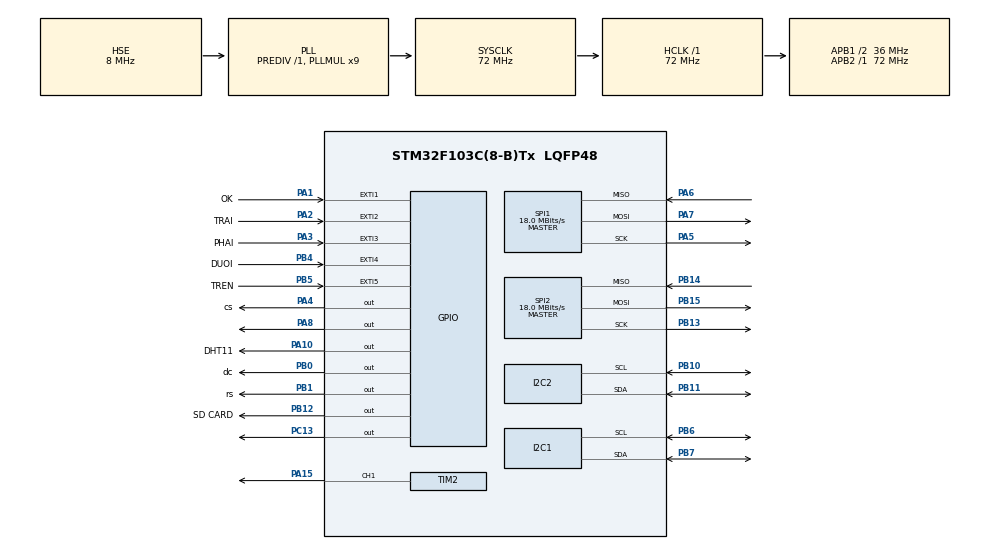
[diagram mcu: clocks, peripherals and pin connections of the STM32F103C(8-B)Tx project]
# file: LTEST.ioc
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Mcu.Family=STM32F1
Mcu.Name=STM32F103C(8-B)Tx
Mcu.Package=LQFP48
NVIC.EXTI1_IRQn=true\:1\:0\:true\:false\:true\:true\:true\:true
NVIC.EXTI2_IRQn=true\:1\:0\:true\:false\:true\:true\:true\:true
NVIC.EXTI3_IRQn=true\:1\:0\:true\:false\:true\:true\:true\:true
NVIC.EXTI4_IRQn=true\:1\:0\:true\:false\:true\:true\:true\:true
NVIC.EXTI9_5_IRQn=true\:1\:0\:true\:false\:true\:true\:true\:true
NVIC.I2C1_EV_IRQn=true\:2\:0\:true\:false\:true\:true\:true\:true
NVIC.I2C2_EV_IRQn=true\:2\:0\:true\:false\:true\:true\:true\:true
NVIC.PriorityGroup=NVIC_PRIORITYGROUP_4
NVIC.SPI2_IRQn=true\:2\:0\:true\:false\:true\:true\:true\:true
NVIC.TIM3_IRQn=true\:2\:0\:true\:false\:true\:true\:true\:true
PA1.GPIO_Label=OK
PA1.GPIO_ModeDefaultEXTI=GPIO_MODE_IT_FALLING
PA1.GPIO_PuPd=GPIO_PULLUP
PA1.Signal=GPXTI1
PA10.GPIO_Label=DHT11
PA10.Signal=GPIO_Output
PA13.Mode=Serial_Wire
PA13.Signal=SYS_JTMS-SWDIO
PA14.Mode=Serial_Wire
PA14.Signal=SYS_JTCK-SWCLK
PA15.Signal=S_TIM2_CH1_ETR
PA2.GPIO_Label=TRAI
PA2.GPIO_ModeDefaultEXTI=GPIO_MODE_IT_FALLING
PA2.GPIO_PuPd=GPIO_PULLUP
PA2.Signal=GPXTI2
PA3.GPIO_Label=PHAI
PA3.GPIO_ModeDefaultEXTI=GPIO_MODE_IT_FALLING
PA3.GPIO_PuPd=GPIO_PULLUP
PA3.Signal=GPXTI3
PA4.GPIO_Label=cs
PA4.GPIO_Speed=GPIO_SPEED_FREQ_HIGH
PA4.Signal=GPIO_Output
PA5.Mode=Full_Duplex_Master
PA5.Signal=SPI1_SCK
PA6.Mode=Full_Duplex_Master
PA6.Signal=SPI1_MISO
PA7.Mode=Full_Duplex_Master
PA7.Signal=SPI1_MOSI
PA8.Signal=GPIO_Output
PB0.GPIO_Label=dc
PB0.GPIO_Speed=GPIO_SPEED_FREQ_HIGH
PB0.Signal=GPIO_Output
PB1.GPIO_Label=rs
PB1.GPIO_Speed=GPIO_SPEED_FREQ_HIGH
PB1.Signal=GPIO_Output
PB10.Mode=I2C
PB10.Signal=I2C2_SCL
PB11.Mode=I2C
PB11.Signal=I2C2_SDA
PB12.GPIO_Label=SD CARD
PB12.Signal=GPIO_Output
PB13.Mode=Full_Duplex_Master
PB13.Signal=SPI2_SCK
PB14.Mode=Full_Duplex_Master
PB14.Signal=SPI2_MISO
PB15.Mode=Full_Duplex_Master
PB15.Signal=SPI2_MOSI
PB4.GPIO_Label=DUOI
PB4.GPIO_ModeDefaultEXTI=GPIO_MODE_IT_FALLING
PB4.GPIO_PuPd=GPIO_PULLUP
PB4.Signal=GPXTI4
PB5.GPIO_Label=TREN
PB5.GPIO_ModeDefaultEXTI=GPIO_MODE_IT_FALLING
PB5.GPIO_PuPd=GPIO_PULLUP
PB5.Signal=GPXTI5
PB6.Mode=I2C
PB6.Signal=I2C1_SCL
PB7.Mode=I2C
PB7.Signal=I2C1_SDA
PC13-TAMPER-RTC.Signal=GPIO_Output
PD0-OSC_IN.Mode=HSE-External-Oscillator
PD0-OSC_IN.Signal=RCC_OSC_IN
PD1-OSC_OUT.Mode=HSE-External-Oscillator
PD1-OSC_OUT.Signal=RCC_OSC_OUT
ProjectManager.HeapSize=0x200
ProjectManager.StackSize=0x400
ProjectManager.TargetToolchain=STM32CubeIDE
RCC.ADCPresc=RCC_ADCPCLK2_DIV6
RCC.AHBFreq_Value=72000000
RCC.APB1CLKDivider=RCC_HCLK_DIV2
RCC.APB1Freq_Value=36000000
RCC.APB1TimFreq_Value=72000000
RCC.APB2Freq_Value=72000000
RCC.APB2TimFreq_Value=72000000
RCC.HCLKFreq_Value=72000000
RCC.PLLMUL=RCC_PLL_MUL9
RCC.PLLSourceVirtual=RCC_PLLSOURCE_HSE
RCC.SYSCLKFreq_VALUE=72000000
RCC.SYSCLKSource=RCC_SYSCLKSOURCE_PLLCLK
RCC.USBFreq_Value=72000000
SH.S_TIM2_CH1_ETR.0=TIM2_CH1,PWM Generation1 CH1
SPI1.BaudRatePrescaler=SPI_BAUDRATEPRESCALER_4
SPI1.CalculateBaudRate=18.0 MBits/s
SPI1.Direction=SPI_DIRECTION_2LINES
SPI1.Mode=SPI_MODE_MASTER
SPI1.VirtualType=VM_MASTER
SPI2.BaudRatePrescaler=SPI_BAUDRATEPRESCALER_2
SPI2.CalculateBaudRate=18.0 MBits/s
SPI2.Direction=SPI_DIRECTION_2LINES
SPI2.Mode=SPI_MODE_MASTER
SPI2.VirtualType=VM_MASTER
TIM2.Channel-PWM\ Generation1\ CH1=TIM_CHANNEL_1
TIM2.Period=255
TIM2.Prescaler=1
TIM3.Period=125
TIM3.Prescaler=36
TIM4.Period=0xffff
TIM4.Prescaler=71
VP_FATFS_VS_Generic.Mode=User_defined
VP_TIM2_VS_ClockSourceINT.Mode=Internal
VP_TIM3_VS_ClockSourceINT.Mode=Internal
VP_TIM4_VS_ClockSourceINT.Mode=Internal
board=custom

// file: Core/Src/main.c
/* USER CODE BEGIN Header */
/**
  ******************************************************************************
  * @file           : main.c
  * @brief          : Main program body
  ******************************************************************************
  * @attention
  *
  * Copyright (c) 2023 STMicroelectronics.
  * All rights reserved.
  *
  * This software is licensed under terms that can be found in the LICENSE file
  * in the root directory of this software component.
  * If no LICENSE file comes with this software, it is provided AS-IS.
  *
  ******************************************************************************
  */
/* USER CODE END Header */
#include "main.h"
#include "fatfs.h"

/* USER CODE BEGIN Includes */
#include <stdio.h>
#include <string.h>
#include <clock_TT-h/fatfs_sd.h>
#include <clock_TT-h/R-W-SD.h>
#include <clock_TT-h/ssd1306.h>
#include <clock_TT-h/ssd1306_tests.h>
#include <clock_TT-h/RTCds3231.h>
#include <clock_TT-h/DHT11.h>
#include <clock_TT-h/manhinh.h>
#include "FLASH.h"
/* USER CODE END Includes */

I2C_HandleTypeDef hi2c1;
I2C_HandleTypeDef hi2c2;

SPI_HandleTypeDef hspi1;
SPI_HandleTypeDef hspi2;

TIM_HandleTypeDef htim2;
TIM_HandleTypeDef htim3;
TIM_HandleTypeDef htim4;

/* USER CODE BEGIN PV */

//bien man hinh chinh--------
const unsigned char battery []= {
	0x00, 0x00, 0x00,
	0x00, 0x00, 0x00,
	0x7f, 0xff, 0xf8,
	0xe0, 0x00, 0x1c,
	0xc0, 0x00, 0x0c,
	0xdf, 0xff, 0xee,
	0xdf, 0xff, 0xef,
	0xdf, 0xff, 0xe3,
	0xdf, 0xff, 0xe3,
	0xdf, 0xff, 0xe3,
	0xdf, 0xff,	0xe3,
	0xdf, 0xff, 0xef,
	0xdf, 0xff, 0xee,
	0xc0, 0x00, 0x0c,
	0xe0, 0x00, 0x1c,
	0x7f, 0xff, 0xf8,
	0x00, 0x00, 0x00,
	0x00, 0x00, 0x00};
DS3231_typedef DS3231_TimeNow;
DS3231_typedef DS3231_TimeSet;
uint8_t u8_revBuffer[7];
char giophut[5],giay[4],ngay[20];
char giophutgiay[30]="00:00:00                  ";
char ngays[30]="thu0,00-00-2000        ";
char giophut_a[30]="00:00             ";
uint8_t timeset[7];
uint8_t timeset2[7];
uint8_t timealrm[2];
uint32_t min;
uint8_t date;
uint8_t id;
uint8_t set=0;
uint8_t tat=0;
//bien mang hinh chinh---------
volatile uint8_t mode=0;
uint8_t controdoc=0;
uint8_t dung=0;
uint8_t controngang=0;
volatile uint8_t 	ok=0;
volatile uint8_t	trai=0;
volatile uint8_t	phai=0;
volatile uint8_t	tren=0;
volatile uint8_t    duoi=0;
char ghi[5];
//bien phat nhac-------
char buffer[1024+1];
uint32_t cnt=1;
uint32_t ngat=0;
char phat[20]="1.txt";
uint8_t amthanh[1024/2];
char nhac[80];
//bien phat nhac-------
/* USER CODE END PV */

void SystemClock_Config(void);
static void MX_GPIO_Init(void);
static void MX_SPI1_Init(void);
static void MX_I2C1_Init(void);
static void MX_SPI2_Init(void);
static void MX_TIM2_Init(void);
static void MX_TIM3_Init(void);
static void MX_I2C2_Init(void);
static void MX_TIM4_Init(void);
/* USER CODE BEGIN PFP */

void HAL_GPIO_EXTI_Callback(uint16_t GPIO_Pin)
  {
    /* Prevent unused argument(s) compilation warning */
    UNUSED(GPIO_Pin);
    /* NOTE: This function Should not be modified, when the callback is needed,
             the HAL_GPIO_EXTI_Callback could be implemented in the user file
     */
    min=HAL_GetTick();
    if (GPIO_Pin== GPIO_PIN_1)
  	      {
    	if (mode==4 && controdoc==1) mode=0;
    	if (mode!=0 && controdoc!=0) ok=1;
    	else mode=0;
  	      }
  	else if(GPIO_Pin == GPIO_PIN_2)
  	      {
  		if (mode==1 && controdoc!=0) trai=1;
  		else if (mode==4 && controdoc!=0) trai=1;
  		else mode=1;
  	      }
  	else if(GPIO_Pin == GPIO_PIN_3)
  	      {
  		if (mode==1 && controdoc!=0) phai=1;
  		else if (mode==4 && controdoc!=0) phai=1;
  		else mode=2;
  	      }
  	else if(GPIO_Pin == GPIO_PIN_5){
  		tren=1;
  		dung=1;
  	}
  	else if(GPIO_Pin == GPIO_PIN_4){
  		duoi=1;
  		dung=1;
  	  	}
//    while(HAL_GetTick()-min<20);

  }
void HAL_TIM_PeriodElapsedCallback(TIM_HandleTypeDef *htim) //16Khz timer
  	{

  	   TIM2->CCR1=amthanh[cnt++];
  	   if(cnt>=512) {
  		 cnt=0;
  		HAL_TIM_Base_Stop_IT(&htim3);
  		ngat=1;
  	   }
  	}
void HAL_I2C_MemRxCpltCallback(I2C_HandleTypeDef *hi2c)
{

		  UNUSED(hi2c);
		if (hi2c->Instance == I2C1)
		{
			DS3231_TimeNow.sec=BCD2DEC(u8_revBuffer[0]);
			DS3231_TimeNow.min=BCD2DEC(u8_revBuffer[1]);
			DS3231_TimeNow.hours=BCD2DEC(u8_revBuffer[2]);
			DS3231_TimeNow.date=BCD2DEC(u8_revBuffer[3]);
			DS3231_TimeNow.day=BCD2DEC(u8_revBuffer[4]);
			DS3231_TimeNow.month=BCD2DEC(u8_revBuffer[5]);
			DS3231_TimeNow.year=BCD2DEC(u8_revBuffer[6]);
		}

}
uint8_t doc(uint8_t *tren,uint8_t *duoi)
{
	static uint8_t i=0;
	if (*tren==1) {
		i--;
		*tren=0;
	}
	if (*duoi==1) {
		i++;
		*duoi=0;
	}
	if(set==1) i=i;
	else{
		if (i<0 || i>4) i=0;
	}
	return i;
}
uint8_t ngang(uint8_t *trai,uint8_t *phai)
{
	static uint8_t i=0;
	if (*trai==1) {
		i--;
		*trai=0;
	}
	if (*phai==1) {
		i++;
		*phai=0;
	}
	if(i<0 || i>17) i=0;
	return i;
}
/* USER CODE END PFP */

int main(void)
{

  /* MCU Configuration--------------------------------------------------------*/

  /* Reset of all peripherals, Initializes the Flash interface and the Systick. */
  HAL_Init();

  /* Configure the system clock */
  SystemClock_Config();

  /* Initialize all configured peripherals */
  MX_GPIO_Init();
  MX_SPI1_Init();
  MX_I2C1_Init();
  MX_SPI2_Init();
  MX_FATFS_Init();
  MX_TIM2_Init();
  MX_TIM3_Init();
  MX_I2C2_Init();
  MX_TIM4_Init();
  /* USER CODE BEGIN 2 */
  HAL_TIM_PWM_Start(&htim2,TIM_CHANNEL_1); //cho phep PWM (gia lap DAC)
  ssd1306_Init();
////  man hinh chinh begin
  //doc
giay[0]=':';
giophut[2]=':';
ngay[0]='T';ngay[1]='h';ngay[2]='u';ngay[4]=',';
ngay[7]='-';
ngay[10]='-';
ngay[11]='2';ngay[12]='0';

id=stactusTX();
   // manh hinh chinh end
   //phat nhac begin
  //phat nhac end
  /* USER CODE END 2 */

  /* Infinite loop */
  while (1)
  {

    /* USER CODE BEGIN 3 */
	switch (mode){
	 case 0:
	 	 {
		 while(mode==0){//man hinh chinh
			 dung=0;
			 readsdtxt("","tb.txt",ghi,5);
			 str2uint8t(ghi,timealrm,2);
			 readtime(u8_revBuffer,id);
			 if (timealrm[1]==(DS3231_TimeNow.hours) && timealrm[0]==(DS3231_TimeNow.min))
			 	 {

				 	if (tat==0)readline("","3.txt",buffer,amthanh,1024/2,&ngat,&dung);
				 	tat=1;
			 	 }

			 ngay[3]=(DS3231_TimeNow.date) + 48;
			 ngay[5]=((DS3231_TimeNow.day)/10) + 48;
			 ngay[6]=((DS3231_TimeNow.day)%10) + 48;
			 ngay[8]=((DS3231_TimeNow.month)/10) + 48;
			 ngay[9]=((DS3231_TimeNow.month)%10) + 48;
			 ngay[13]=((DS3231_TimeNow.year)/10) + 48;
			 ngay[14]=((DS3231_TimeNow.year)%10)  + 48;
			 giay[1]=((DS3231_TimeNow.sec)/10) + 48;
			 giay[2]=((DS3231_TimeNow.sec)%10) + 48;
			 giophut[0]=((DS3231_TimeNow.hours)/10) +48;
			 giophut[1]=((DS3231_TimeNow.hours)%10) +48;
			 giophut[3]=((DS3231_TimeNow.min)/10) +48;
			 giophut[4]=((DS3231_TimeNow.min)%10) +48;
			 ssd1306_SetCursor(10,0);
			 ssd1306_WriteString("Clock TT",Font_11x18,White);
			 ssd1306_DrawBitmap(101,0,battery,24,18,White);
			 ssd1306_UpdateScreen();
			 ssd1306_SetCursor(0,18);
			 ssd1306_WriteString(ngay,Font_7x10,White);
			 ssd1306_UpdateScreen();
			 ssd1306_SetCursor(37,28);
			 ssd1306_WriteString(giophut,Font_11x18,White);
			 ssd1306_SetCursor(90,35);
			 ssd1306_WriteString(giay,Font_7x10,White);
			 ssd1306_UpdateScreen();
	 	 	 }
		 ssd1306_Init();
		 break;
	 	 }//case 0
	 case 1:
	 	 {
		 while(mode ==1){// man hinh cai dat
			 ngays[3]=(timeset[3]) + 48;
			 ngays[5]=((timeset[4])/10) + 48;
			 ngays[6]=((timeset[4])%10) + 48;
			 ngays[8]=((timeset[5])/10) + 48;
			 ngays[9]=((timeset[5])%10) + 48;
			 ngays[13]=((timeset[6])/10) + 48;
			 ngays[14]=((timeset[6])%10)  + 48;

			 giophutgiay[0]=((timeset[2])/10) +48;//gio
			 giophutgiay[1]=((timeset[2])%10) +48;
			 giophutgiay[3]=((timeset[1])/10) +48;//phut
			 giophutgiay[4]=((timeset[1])%10) +48;
			 giophutgiay[6]=((timeset[0])/10) +48;//giay
			 giophutgiay[7]=((timeset[0])%10) +48;

			 controdoc=doc(&tren,&duoi);
			 controngang=ngang(&trai,&phai);
			 ssd1306_SetCursor(0,0);
			 ssd1306_WriteString("Time Set",Font_11x18,White);
			 ssd1306_UpdateScreen();
			 ssd1306_SetCursor(0,18);
			 ssd1306_WriteString(ngays,Font_7x10,White);
			 ssd1306_SetCursor(0,28);
			 ssd1306_WriteString(giophutgiay,Font_7x10,White);
			 ssd1306_UpdateScreen();
			 ssd1306_SetCursor(0,38);
			 ssd1306_WriteString("                 ",Font_7x10,White);
			 ssd1306_UpdateScreen();
			 ssd1306_SetCursor(0,48);
			 ssd1306_WriteString("Bao thuc          ",Font_7x10,White);
			 ssd1306_UpdateScreen();
			 ssd1306_SetCursor(0+controngang*7,8+controdoc*10);
			 ssd1306_WriteString(" ",Font_7x10,Black);
			 ssd1306_UpdateScreen();
			 if (ok==1){
				 ok=0;
				 set=1;
				 while (ok==0){

					 if (controdoc==1 && controngang==3)  {
						 timeset[3]=doc(&tren,&duoi);	//thu
						 if (timeset[3]>8) timeset[3]=2;
						 if (timeset[3]<2) timeset[3]=8;
						 ngays[3]=(timeset[3]) + 48;
					 }
					 if (controdoc==1 && controngang==6) {
						 timeset[4]=doc(&tren,&duoi);//ngay
						 if (timeset[4]>31) timeset[4]=0;
						 if (timeset[4]<1) timeset[4]=31;
						 ngays[5]=((timeset[4])/10) + 48;
						 ngays[6]=((timeset[4])%10) + 48;
					 }
					 if (controdoc==1 && controngang==9) {
						 timeset[5]=doc(&tren,&duoi);//thang
						 if (timeset[5]>12) timeset[5]=1;
						 if (timeset[5]<1) timeset[5]=12;
						 ngays[8]=((timeset[5])/10) + 48;
						 ngays[9]=((timeset[5])%10) + 48;

					 }
					 if (controdoc==1 && controngang==14) {
						 timeset[6]=doc(&tren,&duoi);//nam
						 if (timeset[6]>99) timeset[6]=99;
						 if (timeset[6]<0) timeset[6]=0;
						 ngays[13]=((timeset[6])/10) + 48;
						 ngays[14]=((timeset[6])%10)  + 48;

					 }
					 if (controdoc==2 && controngang==1) {
						 timeset[2]=doc(&tren,&duoi);//gio
						 if (timeset[2]>23) timeset[2]=0;
						 if (timeset[2]<0) timeset[2]=23;
						 giophutgiay[0]=((timeset[2])/10) +48;//gio
						 giophutgiay[1]=((timeset[2])%10) +48;
					 }
					 if (controdoc==2 && controngang==4) {
						 timeset[1]=doc(&tren,&duoi);//phut
						 if (timeset[1]>59) timeset[1]=0;
						 if (timeset[1]<0) timeset[1]=59;
						giophutgiay[3]=((timeset[1])/10) +48;//phut
						giophutgiay[4]=((timeset[1])%10) +48;
					 }
					 if (controdoc==2 && controngang==7) {
						 timeset[0]=doc(&tren,&duoi);//giay
						 if (timeset[0]>59) timeset[0]=0;
						 if (timeset[0]<0)  timeset[0]=59;
						 giophutgiay[6]=((timeset[0])/10) +48;//giay
						 giophutgiay[7]=((timeset[0])%10) +48;
					 }
					 if (controdoc==4 && controngang==0){
					 mode=4;
					 }
					  	 	 	 ssd1306_SetCursor(0,18);
					 	 	 	 ssd1306_WriteString(ngays,Font_7x10,White);
					 			 ssd1306_SetCursor(0,28);
					 			 ssd1306_WriteString(giophutgiay,Font_7x10,White);
					 			 ssd1306_UpdateScreen();
					 			 ssd1306_SetCursor(0,38);
					 			 ssd1306_WriteString("                 ",Font_7x10,White);
					 			 ssd1306_UpdateScreen();
					 			 ssd1306_SetCursor(0,48);
					 			 ssd1306_WriteString("Setting time          ",Font_7x10,White);
					 			 ssd1306_UpdateScreen();
				 }
				 controdoc = 1;
				 for (int i=0;i<7;i++){
					 timeset2[i]=timeset[i];
				 }
				 if (mode!=4) settime(timeset2,id);
				 ok=0;
				 set=0;

			 }

		 }
		 ssd1306_Init();
		 break;
	 	 }//case1
	 case 2:
	 	 {
		  while (mode ==2){// man hinh phat nhac
			 ssd1306_SetCursor(0,0);
			 ssd1306_WriteString("Music         ",Font_11x18,White);
			 ssd1306_UpdateScreen();
			 readdanhsachnhac("","dsn.txt",nhac);
			 controdoc=doc(&tren,&duoi);
			 phat[0]=controdoc+48;
			 ssd1306_SetCursor(0,8+controdoc*10);
			 ssd1306_WriteString(">",Font_7x10,White);
			 ssd1306_UpdateScreen();
		if(ok==1) {
			ok=0;
			readline("",phat,buffer,amthanh,1024/2,&ngat,&dung);
			}

		 }
		 ssd1306_Init();
		 break;
	 	 }//case2
	 case 4:
		 {
			 while (mode==4){
				 tat=0;
				 giophut_a[0]=((timealrm[1])/10) +48;//gio
				 giophut_a[1]=((timealrm[1])%10) +48;
				 giophut_a[3]=((timealrm[0])/10) +48;//phut
				 giophut_a[4]=((timealrm[0])%10) +48;

				 controdoc=doc(&tren,&duoi);
				 controngang=ngang(&trai,&phai);
				 ssd1306_SetCursor(0,0);
				 ssd1306_WriteString("Time Set",Font_11x18,White);
				 ssd1306_UpdateScreen();
				 ssd1306_SetCursor(0,18);
				 ssd1306_WriteString("X.Man hinh chinh",Font_7x10,White);
				 ssd1306_SetCursor(0,28);
				 ssd1306_WriteString(giophut_a,Font_7x10,White);
				 ssd1306_UpdateScreen();
				 ssd1306_SetCursor(0,38);
				 ssd1306_WriteString("----------------",Font_7x10,White);
				 ssd1306_UpdateScreen();
				 ssd1306_SetCursor(0,48);
				 ssd1306_WriteString("----------------",Font_7x10,White);
				 ssd1306_UpdateScreen();
				 ssd1306_SetCursor(0+controngang*7,8+controdoc*10);
				 ssd1306_WriteString(" ",Font_7x10,Black);
				 ssd1306_UpdateScreen();
				 if (ok==1){
					 ok=0;
					 set=1;
					 while (ok==0){
						 if (controdoc==2 && controngang==1) {
							 timealrm[1]=doc(&tren,&duoi);//gio
							 if (timealrm[1]>23) timealrm[1]=0;
							 if (timealrm[1]<0) timealrm[1]=23;
							 giophut_a[0]=((timealrm[1])/10) +48;//gio
							 giophut_a[1]=((timealrm[1])%10) +48;
						 }
						 if (controdoc==2 && controngang==4) {
							 timealrm[0]=doc(&tren,&duoi);//phut
							 if (timealrm[0]>59) timealrm[0]=0;
							 if (timealrm[0]<0) timealrm[0]=59;
							 giophut_a[3]=((timealrm[0])/10) +48;//phut
							 giophut_a[4]=((timealrm[0])%10) +48;
						 }
						 if (mode==0 && controdoc==1){
							 set=0;
							 tat=0;
							 write_sd("","tb.txt",ghi,timealrm,2);
							 break;
						 }
						 ssd1306_SetCursor(0,0);
						 ssd1306_WriteString("Time Set",Font_11x18,White);
						 ssd1306_UpdateScreen();
						 ssd1306_SetCursor(0,18);
						 ssd1306_WriteString("X-Man hinh chinh",Font_7x10,White);
						 ssd1306_SetCursor(0,28);
						 ssd1306_WriteString(giophut_a,Font_7x10,White);
						 ssd1306_UpdateScreen();
						 ssd1306_SetCursor(0,38);
						 ssd1306_WriteString("Dang cai dat     ",Font_7x10,White);
						 ssd1306_UpdateScreen();
						 ssd1306_SetCursor(0,48);
						 ssd1306_WriteString("                 ",Font_7x10,White);
						 ssd1306_UpdateScreen();
					 }//while
					 tat=0;
					 write_sd("","tb.txt",ghi,timealrm,2);
					 ok=0;
					 set=0;
					 controdoc = 1;
				 }
			 }
			 ssd1306_Init();
			 break;
		 	 }//case 4
	 	 }

  }
  /* USER CODE END 3 */
}

void SystemClock_Config(void)
{
  RCC_OscInitTypeDef RCC_OscInitStruct = {0};
  RCC_ClkInitTypeDef RCC_ClkInitStruct = {0};

  /** Initializes the RCC Oscillators according to the specified parameters
  * in the RCC_OscInitTypeDef structure.
  */
  RCC_OscInitStruct.OscillatorType = RCC_OSCILLATORTYPE_HSE;
  RCC_OscInitStruct.HSEState = RCC_HSE_ON;
  RCC_OscInitStruct.HSEPredivValue = RCC_HSE_PREDIV_DIV1;
  RCC_OscInitStruct.HSIState = RCC_HSI_ON;
  RCC_OscInitStruct.PLL.PLLState = RCC_PLL_ON;
  RCC_OscInitStruct.PLL.PLLSource = RCC_PLLSOURCE_HSE;
  RCC_OscInitStruct.PLL.PLLMUL = RCC_PLL_MUL9;
  if (HAL_RCC_OscConfig(&RCC_OscInitStruct) != HAL_OK)
  {
    Error_Handler();
  }

  /** Initializes the CPU, AHB and APB buses clocks
  */
  RCC_ClkInitStruct.ClockType = RCC_CLOCKTYPE_HCLK|RCC_CLOCKTYPE_SYSCLK
                              |RCC_CLOCKTYPE_PCLK1|RCC_CLOCKTYPE_PCLK2;
  RCC_ClkInitStruct.SYSCLKSource = RCC_SYSCLKSOURCE_PLLCLK;
  RCC_ClkInitStruct.AHBCLKDivider = RCC_SYSCLK_DIV1;
  RCC_ClkInitStruct.APB1CLKDivider = RCC_HCLK_DIV2;
  RCC_ClkInitStruct.APB2CLKDivider = RCC_HCLK_DIV1;

  if (HAL_RCC_ClockConfig(&RCC_ClkInitStruct, FLASH_LATENCY_2) != HAL_OK)
  {
    Error_Handler();
  }
}

static void MX_I2C1_Init(void)
{

  hi2c1.Instance = I2C1;
  hi2c1.Init.ClockSpeed = 100000;
  hi2c1.Init.DutyCycle = I2C_DUTYCYCLE_2;
  hi2c1.Init.OwnAddress1 = 0;
  hi2c1.Init.AddressingMode = I2C_ADDRESSINGMODE_7BIT;
  hi2c1.Init.DualAddressMode = I2C_DUALADDRESS_DISABLE;
  hi2c1.Init.OwnAddress2 = 0;
  hi2c1.Init.GeneralCallMode = I2C_GENERALCALL_DISABLE;
  hi2c1.Init.NoStretchMode = I2C_NOSTRETCH_DISABLE;
  if (HAL_I2C_Init(&hi2c1) != HAL_OK)
  {
    Error_Handler();
  }

}

static void MX_I2C2_Init(void)
{

  hi2c2.Instance = I2C2;
  hi2c2.Init.ClockSpeed = 100000;
  hi2c2.Init.DutyCycle = I2C_DUTYCYCLE_2;
  hi2c2.Init.OwnAddress1 = 0;
  hi2c2.Init.AddressingMode = I2C_ADDRESSINGMODE_7BIT;
  hi2c2.Init.DualAddressMode = I2C_DUALADDRESS_DISABLE;
  hi2c2.Init.OwnAddress2 = 0;
  hi2c2.Init.GeneralCallMode = I2C_GENERALCALL_DISABLE;
  hi2c2.Init.NoStretchMode = I2C_NOSTRETCH_DISABLE;
  if (HAL_I2C_Init(&hi2c2) != HAL_OK)
  {
    Error_Handler();
  }

}

static void MX_SPI1_Init(void)
{

  /* SPI1 parameter configuration*/
  hspi1.Instance = SPI1;
  hspi1.Init.Mode = SPI_MODE_MASTER;
  hspi1.Init.Direction = SPI_DIRECTION_2LINES;
  hspi1.Init.DataSize = SPI_DATASIZE_8BIT;
  hspi1.Init.CLKPolarity = SPI_POLARITY_LOW;
  hspi1.Init.CLKPhase = SPI_PHASE_1EDGE;
  hspi1.Init.NSS = SPI_NSS_SOFT;
  hspi1.Init.BaudRatePrescaler = SPI_BAUDRATEPRESCALER_4;
  hspi1.Init.FirstBit = SPI_FIRSTBIT_MSB;
  hspi1.Init.TIMode = SPI_TIMODE_DISABLE;
  hspi1.Init.CRCCalculation = SPI_CRCCALCULATION_DISABLE;
  hspi1.Init.CRCPolynomial = 10;
  if (HAL_SPI_Init(&hspi1) != HAL_OK)
  {
    Error_Handler();
  }

}

static void MX_SPI2_Init(void)
{

  /* SPI2 parameter configuration*/
  hspi2.Instance = SPI2;
  hspi2.Init.Mode = SPI_MODE_MASTER;
  hspi2.Init.Direction = SPI_DIRECTION_2LINES;
  hspi2.Init.DataSize = SPI_DATASIZE_8BIT;
  hspi2.Init.CLKPolarity = SPI_POLARITY_LOW;
  hspi2.Init.CLKPhase = SPI_PHASE_1EDGE;
  hspi2.Init.NSS = SPI_NSS_SOFT;
  hspi2.Init.BaudRatePrescaler = SPI_BAUDRATEPRESCALER_4;
  hspi2.Init.FirstBit = SPI_FIRSTBIT_MSB;
  hspi2.Init.TIMode = SPI_TIMODE_DISABLE;
  hspi2.Init.CRCCalculation = SPI_CRCCALCULATION_DISABLE;
  hspi2.Init.CRCPolynomial = 10;
  if (HAL_SPI_Init(&hspi2) != HAL_OK)
  {
    Error_Handler();
  }

}

static void MX_TIM2_Init(void)
{

  TIM_ClockConfigTypeDef sClockSourceConfig = {0};
  TIM_MasterConfigTypeDef sMasterConfig = {0};
  TIM_OC_InitTypeDef sConfigOC = {0};

  htim2.Instance = TIM2;
  htim2.Init.Prescaler = 1;
  htim2.Init.CounterMode = TIM_COUNTERMODE_UP;
  htim2.Init.Period = 255;
  htim2.Init.ClockDivision = TIM_CLOCKDIVISION_DIV1;
  htim2.Init.AutoReloadPreload = TIM_AUTORELOAD_PRELOAD_DISABLE;
  if (HAL_TIM_Base_Init(&htim2) != HAL_OK)
  {
    Error_Handler();
  }
  sClockSourceConfig.ClockSource = TIM_CLOCKSOURCE_INTERNAL;
  if (HAL_TIM_ConfigClockSource(&htim2, &sClockSourceConfig) != HAL_OK)
  {
    Error_Handler();
  }
  if (HAL_TIM_PWM_Init(&htim2) != HAL_OK)
  {
    Error_Handler();
  }
  sMasterConfig.MasterOutputTrigger = TIM_TRGO_RESET;
  sMasterConfig.MasterSlaveMode = TIM_MASTERSLAVEMODE_DISABLE;
  if (HAL_TIMEx_MasterConfigSynchronization(&htim2, &sMasterConfig) != HAL_OK)
  {
    Error_Handler();
  }
  sConfigOC.OCMode = TIM_OCMODE_PWM1;
  sConfigOC.Pulse = 0;
  sConfigOC.OCPolarity = TIM_OCPOLARITY_HIGH;
  sConfigOC.OCFastMode = TIM_OCFAST_DISABLE;
  if (HAL_TIM_PWM_ConfigChannel(&htim2, &sConfigOC, TIM_CHANNEL_1) != HAL_OK)
  {
    Error_Handler();
  }
  HAL_TIM_MspPostInit(&htim2);

}

static void MX_TIM3_Init(void)
{

  TIM_ClockConfigTypeDef sClockSourceConfig = {0};
  TIM_MasterConfigTypeDef sMasterConfig = {0};

  htim3.Instance = TIM3;
  htim3.Init.Prescaler = 36;
  htim3.Init.CounterMode = TIM_COUNTERMODE_UP;
  htim3.Init.Period = 125;
  htim3.Init.ClockDivision = TIM_CLOCKDIVISION_DIV1;
  htim3.Init.AutoReloadPreload = TIM_AUTORELOAD_PRELOAD_DISABLE;
  if (HAL_TIM_Base_Init(&htim3) != HAL_OK)
  {
    Error_Handler();
  }
  sClockSourceConfig.ClockSource = TIM_CLOCKSOURCE_INTERNAL;
  if (HAL_TIM_ConfigClockSource(&htim3, &sClockSourceConfig) != HAL_OK)
  {
    Error_Handler();
  }
  sMasterConfig.MasterOutputTrigger = TIM_TRGO_RESET;
  sMasterConfig.MasterSlaveMode = TIM_MASTERSLAVEMODE_DISABLE;
  if (HAL_TIMEx_MasterConfigSynchronization(&htim3, &sMasterConfig) != HAL_OK)
  {
    Error_Handler();
  }

}

static void MX_TIM4_Init(void)
{

  TIM_ClockConfigTypeDef sClockSourceConfig = {0};
  TIM_MasterConfigTypeDef sMasterConfig = {0};

  htim4.Instance = TIM4;
  htim4.Init.Prescaler = 71;
  htim4.Init.CounterMode = TIM_COUNTERMODE_UP;
  htim4.Init.Period = 0xffff;
  htim4.Init.ClockDivision = TIM_CLOCKDIVISION_DIV1;
  htim4.Init.AutoReloadPreload = TIM_AUTORELOAD_PRELOAD_DISABLE;
  if (HAL_TIM_Base_Init(&htim4) != HAL_OK)
  {
    Error_Handler();
  }
  sClockSourceConfig.ClockSource = TIM_CLOCKSOURCE_INTERNAL;
  if (HAL_TIM_ConfigClockSource(&htim4, &sClockSourceConfig) != HAL_OK)
  {
    Error_Handler();
  }
  sMasterConfig.MasterOutputTrigger = TIM_TRGO_RESET;
  sMasterConfig.MasterSlaveMode = TIM_MASTERSLAVEMODE_DISABLE;
  if (HAL_TIMEx_MasterConfigSynchronization(&htim4, &sMasterConfig) != HAL_OK)
  {
    Error_Handler();
  }

}

static void MX_GPIO_Init(void)
{
  GPIO_InitTypeDef GPIO_InitStruct = {0};

  /* GPIO Ports Clock Enable */
  __HAL_RCC_GPIOC_CLK_ENABLE();
  __HAL_RCC_GPIOD_CLK_ENABLE();
  __HAL_RCC_GPIOA_CLK_ENABLE();
  __HAL_RCC_GPIOB_CLK_ENABLE();

  /*Configure GPIO pin Output Level */
  HAL_GPIO_WritePin(GPIOC, GPIO_PIN_13, GPIO_PIN_RESET);

  /*Configure GPIO pin Output Level */
  HAL_GPIO_WritePin(GPIOA, cs_Pin|GPIO_PIN_8|DHT11_Pin, GPIO_PIN_RESET);

  /*Configure GPIO pin Output Level */
  HAL_GPIO_WritePin(GPIOB, dc_Pin|rs_Pin|SD_CARD_Pin, GPIO_PIN_RESET);

  /*Configure GPIO pin : PC13 */
  GPIO_InitStruct.Pin = GPIO_PIN_13;
  GPIO_InitStruct.Mode = GPIO_MODE_OUTPUT_PP;
  GPIO_InitStruct.Pull = GPIO_NOPULL;
  GPIO_InitStruct.Speed = GPIO_SPEED_FREQ_LOW;
  HAL_GPIO_Init(GPIOC, &GPIO_InitStruct);

  /*Configure GPIO pins : OK_Pin TRAI_Pin PHAI_Pin */
  GPIO_InitStruct.Pin = OK_Pin|TRAI_Pin|PHAI_Pin;
  GPIO_InitStruct.Mode = GPIO_MODE_IT_FALLING;
  GPIO_InitStruct.Pull = GPIO_PULLUP;
  HAL_GPIO_Init(GPIOA, &GPIO_InitStruct);

  /*Configure GPIO pin : cs_Pin */
  GPIO_InitStruct.Pin = cs_Pin;
  GPIO_InitStruct.Mode = GPIO_MODE_OUTPUT_PP;
  GPIO_InitStruct.Pull = GPIO_NOPULL;
  GPIO_InitStruct.Speed = GPIO_SPEED_FREQ_HIGH;
  HAL_GPIO_Init(cs_GPIO_Port, &GPIO_InitStruct);

  /*Configure GPIO pins : dc_Pin rs_Pin */
  GPIO_InitStruct.Pin = dc_Pin|rs_Pin;
  GPIO_InitStruct.Mode = GPIO_MODE_OUTPUT_PP;
  GPIO_InitStruct.Pull = GPIO_NOPULL;
  GPIO_InitStruct.Speed = GPIO_SPEED_FREQ_HIGH;
  HAL_GPIO_Init(GPIOB, &GPIO_InitStruct);

  /*Configure GPIO pin : SD_CARD_Pin */
  GPIO_InitStruct.Pin = SD_CARD_Pin;
  GPIO_InitStruct.Mode = GPIO_MODE_OUTPUT_PP;
  GPIO_InitStruct.Pull = GPIO_NOPULL;
  GPIO_InitStruct.Speed = GPIO_SPEED_FREQ_LOW;
  HAL_GPIO_Init(SD_CARD_GPIO_Port, &GPIO_InitStruct);

  /*Configure GPIO pins : PA8 DHT11_Pin */
  GPIO_InitStruct.Pin = GPIO_PIN_8|DHT11_Pin;
  GPIO_InitStruct.Mode = GPIO_MODE_OUTPUT_PP;
  GPIO_InitStruct.Pull = GPIO_NOPULL;
  GPIO_InitStruct.Speed = GPIO_SPEED_FREQ_LOW;
  HAL_GPIO_Init(GPIOA, &GPIO_InitStruct);

  /*Configure GPIO pins : DUOI_Pin TREN_Pin */
  GPIO_InitStruct.Pin = DUOI_Pin|TREN_Pin;
  GPIO_InitStruct.Mode = GPIO_MODE_IT_FALLING;
  GPIO_InitStruct.Pull = GPIO_PULLUP;
  HAL_GPIO_Init(GPIOB, &GPIO_InitStruct);

  /* EXTI interrupt init*/
  HAL_NVIC_SetPriority(EXTI1_IRQn, 1, 0);
  HAL_NVIC_EnableIRQ(EXTI1_IRQn);

  HAL_NVIC_SetPriority(EXTI2_IRQn, 1, 0);
  HAL_NVIC_EnableIRQ(EXTI2_IRQn);

  HAL_NVIC_SetPriority(EXTI3_IRQn, 1, 0);
  HAL_NVIC_EnableIRQ(EXTI3_IRQn);

  HAL_NVIC_SetPriority(EXTI4_IRQn, 1, 0);
  HAL_NVIC_EnableIRQ(EXTI4_IRQn);

  HAL_NVIC_SetPriority(EXTI9_5_IRQn, 1, 0);
  HAL_NVIC_EnableIRQ(EXTI9_5_IRQn);

}

void Error_Handler(void)
{
  __disable_irq();
  while (1)
  {
  }
}
